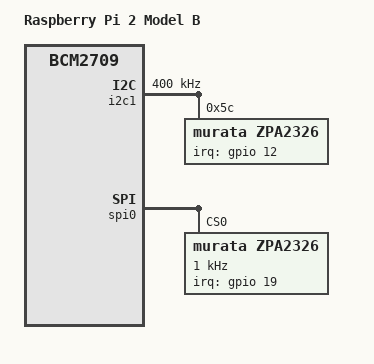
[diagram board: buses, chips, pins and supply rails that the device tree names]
#include "bcm2709-rpi-2-b.dts"
#include "dt-bindings/interrupt-controller/irq.h"

/ {
        /* Main board it is compatible with */
	compatible = "brcm,bcm2709";
	model = "Raspberry Pi 2 Model B";
};

&i2c1 {
	status = "okay";
	clock-frequency = <400000>;

	/* barometer */
	zpa2326@5c {
		status = "okay";
		compatible = "murata,zpa2326";
		reg = <0x5c>;
		interrupt-parent = <&gpio>;
		interrupts = <12 IRQ_TYPE_EDGE_RISING>;
	};
};

&spi0 {
	status = "okay";

	spidev@0 {
		status = "disabled";
	};

	/* barometer */
	zpa2326@0 {
		status = "okay";
		compatible = "murata,zpa2326";
		reg = <0>;
		spi-max-frequency = <1000>;
		interrupt-parent = <&gpio>;
		interrupts = <19 IRQ_TYPE_EDGE_RISING>;
	};
};
